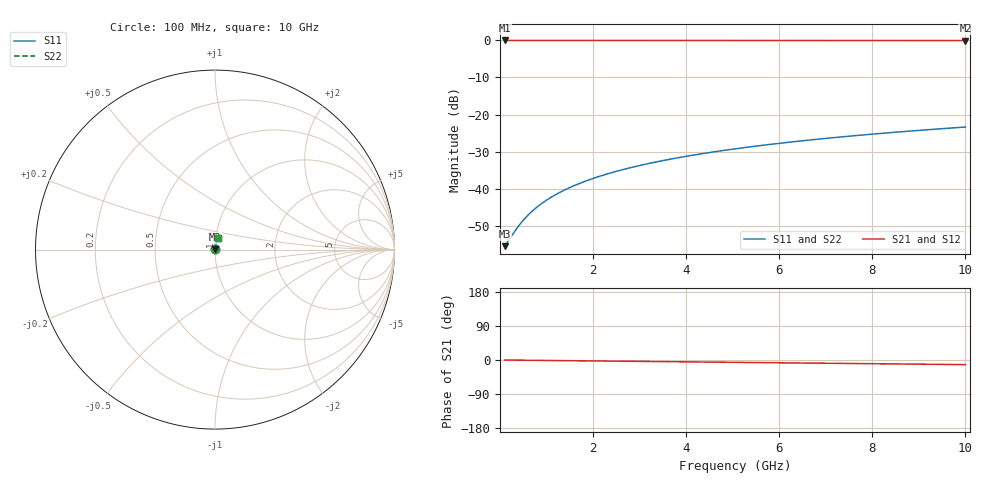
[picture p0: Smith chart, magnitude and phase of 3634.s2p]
# Hz S RI R 50.00
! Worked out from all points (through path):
!   100 points, 100 MHz to 10 GHz, reference 50 ohm
!   highest |S21| = -0.01 dB at 100 MHz (marker M1); lowest = 0.0 dB at 10 GHz (marker M2)
!   group delay of S21, straight-line fit = 3.39 ps
!   lowest |S11| = -55.5 dB at 100 MHz (marker M3), VSWR 1.00, Z = 50.2 + j0.0683 ohm
!   |S11| at or under -10 dB: start of sweep to end of sweep
!   |S22| runs from -55.5 to -23.4 dB; largest |S21 - S12| = 0
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1e8  0.00154 0.000681  0.9985 -0.00212  0.9985 -0.00212  0.00154 0.000681
2e8  0.00155 0.00136  0.9984 -0.00424  0.9984 -0.00424  0.00155 0.00136
3e8  0.00157 0.00204  0.9984 -0.00636  0.9984 -0.00636  0.00157 0.00204
4e8  0.00158 0.00272  0.9984 -0.00848  0.9984 -0.00848  0.00158 0.00272
5e8  0.0016 0.0034  0.9984 -0.0106  0.9984 -0.0106  0.0016 0.0034
6e8  0.00162 0.00408  0.9983 -0.0127  0.9983 -0.0127  0.00162 0.00408
7e8  0.00164 0.00476  0.9983 -0.0148  0.9983 -0.0148  0.00164 0.00476
8e8  0.00167 0.00544  0.9983 -0.017  0.9983 -0.017  0.00167 0.00544
1e9  0.00172 0.0068  0.9982 -0.0212  0.9982 -0.0212  0.00172 0.0068
1.2e9  0.00179 0.00816  0.998 -0.0255  0.998 -0.0255  0.00179 0.00816
1.5e9  0.00192 0.0102  0.9978 -0.0318  0.9978 -0.0318  0.00192 0.0102
1.8e9  0.00207 0.0122  0.9976 -0.0382  0.9976 -0.0382  0.00207 0.0122
2.1e9  0.00224 0.0143  0.9973 -0.0445  0.9973 -0.0445  0.00224 0.0143
2.5e9  0.00251 0.017  0.9968 -0.053  0.9968 -0.053  0.00251 0.017
2.9e9  0.00283 0.0197  0.9963 -0.0615  0.9963 -0.0615  0.00283 0.0197
3.4e9  0.00329 0.023  0.9955 -0.0721  0.9955 -0.0721  0.00329 0.023
4.2e9  0.00418 0.0284  0.9939 -0.089  0.9939 -0.089  0.00418 0.0284
5.1e9  0.00539 0.0344  0.9918 -0.108  0.9918 -0.108  0.00539 0.0344
5.9e9  0.00666 0.0397  0.9896 -0.1248  0.9896 -0.1248  0.00666 0.0397
6.7e9  0.00811 0.045  0.9871 -0.1417  0.9871 -0.1417  0.00811 0.045
8.4e9  0.0118 0.0559  0.9807 -0.1772  0.9807 -0.1772  0.0118 0.0559
1e10  0.016 0.066  0.9734 -0.2105  0.9734 -0.2105  0.016 0.066
